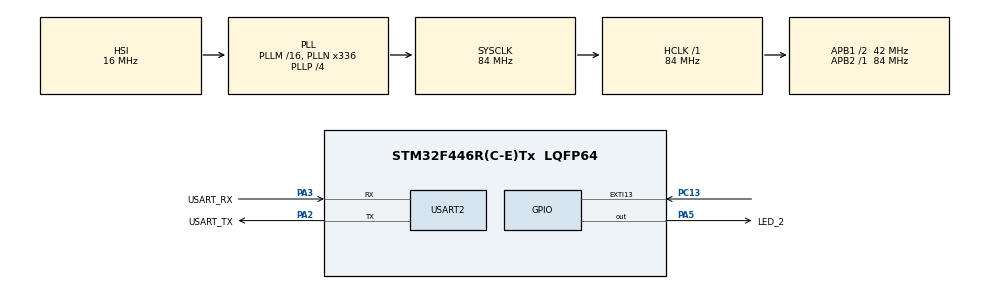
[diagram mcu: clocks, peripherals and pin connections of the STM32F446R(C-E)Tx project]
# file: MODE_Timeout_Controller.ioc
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Mcu.Family=STM32F4
Mcu.Name=STM32F446R(C-E)Tx
Mcu.Package=LQFP64
NVIC.EXTI15_10_IRQn=true\:0\:0\:false\:false\:true\:true\:true\:true
NVIC.PriorityGroup=NVIC_PRIORITYGROUP_0
NVIC.TIM2_IRQn=true\:0\:0\:false\:false\:true\:true\:true\:true
PA13.GPIO_Label=TMS
PA13.Mode=Serial_Wire
PA13.Signal=SYS_JTMS-SWDIO
PA14.GPIO_Label=TCK
PA14.Mode=Serial_Wire
PA14.Signal=SYS_JTCK-SWCLK
PA2.GPIO_Label=USART_TX
PA2.Mode=Asynchronous
PA2.Signal=USART2_TX
PA3.GPIO_Label=USART_RX
PA3.Mode=Asynchronous
PA3.Signal=USART2_RX
PA5.GPIO_Label=LED_2
PA5.PinState=GPIO_PIN_RESET
PA5.Signal=GPIO_Output
PB3.GPIO_Label=SWO
PB3.Signal=SYS_JTDO-SWO
PC13.GPIO_ModeDefaultEXTI=GPIO_MODE_IT_FALLING
PC13.Signal=GPXTI13
PC14-OSC32_IN.Mode=LSE-External-Oscillator
PC14-OSC32_IN.Signal=RCC_OSC32_IN
PC15-OSC32_OUT.Mode=LSE-External-Oscillator
PC15-OSC32_OUT.Signal=RCC_OSC32_OUT
PH0-OSC_IN.Mode=HSE-External-Oscillator
PH0-OSC_IN.Signal=RCC_OSC_IN
PH1-OSC_OUT.Mode=HSE-External-Oscillator
PH1-OSC_OUT.Signal=RCC_OSC_OUT
ProjectManager.HeapSize=0x200
ProjectManager.StackSize=0x400
ProjectManager.TargetToolchain=STM32CubeIDE
RCC.48MHZClocksFreq_Value=84000000
RCC.AHBFreq_Value=84000000
RCC.APB1CLKDivider=RCC_HCLK_DIV2
RCC.APB1Freq_Value=42000000
RCC.APB1TimFreq_Value=84000000
RCC.APB2Freq_Value=84000000
RCC.APB2TimFreq_Value=84000000
RCC.CortexFreq_Value=84000000
RCC.FLatency-AdvancedSettings=FLASH_LATENCY_2
RCC.HCLKFreq_Value=84000000
RCC.HSE_VALUE=8000000
RCC.HSI_VALUE=16000000
RCC.PLLN=336
RCC.PLLP=RCC_PLLP_DIV4
RCC.SYSCLKFreq_VALUE=84000000
RCC.SYSCLKSource=RCC_SYSCLKSOURCE_PLLCLK
RCC.USBFreq_Value=168000000
RCC.VCOOutputFreq_Value=336000000
TIM2.Period=999
TIM2.Prescaler=8399
USART2.VirtualMode=VM_ASYNC
VP_TIM2_VS_ClockSourceINT.Mode=Internal
board=NUCLEO-F446RE

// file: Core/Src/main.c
/* USER CODE BEGIN Header */
/**
  ******************************************************************************
  * @file           : main.c
  * @brief          : Main program body
  ******************************************************************************
  * @attention
  *
  * Copyright (c) 2026 STMicroelectronics.
  * All rights reserved.
  *
  * This software is licensed under terms that can be found in the LICENSE file
  * in the root directory of this software component.
  * If no LICENSE file comes with this software, it is provided AS-IS.
  *
  ******************************************************************************
  */
/* USER CODE END Header */
#include "main.h"

TIM_HandleTypeDef htim2;

UART_HandleTypeDef huart2;

/* USER CODE BEGIN PV */
typedef enum{
	MODE_OFF=0,
	MODE_ON,
	MODE_BLINK
}ledMode_t;

volatile ledMode_t currentMode = MODE_OFF;
static uint8_t ledState=0;
static uint32_t tickCounter=0;
static uint32_t blinkCounter=0;

/* USER CODE END PV */

void SystemClock_Config(void);
static void MX_GPIO_Init(void);
static void MX_TIM2_Init(void);
static void MX_USART2_UART_Init(void);

int main(void)
{

  /* MCU Configuration--------------------------------------------------------*/

  /* Reset of all peripherals, Initializes the Flash interface and the Systick. */
  HAL_Init();

  /* Configure the system clock */
  SystemClock_Config();

  /* Initialize all configured peripherals */
  MX_GPIO_Init();
  MX_TIM2_Init();
  MX_USART2_UART_Init();
  /* USER CODE BEGIN 2 */
  HAL_TIM_Base_Start_IT(&htim2);

  /* USER CODE END 2 */

  /* Infinite loop */
  while (1)
  {

  }
}

void SystemClock_Config(void)
{
  RCC_OscInitTypeDef RCC_OscInitStruct = {0};
  RCC_ClkInitTypeDef RCC_ClkInitStruct = {0};

  /** Configure the main internal regulator output voltage
  */
  __HAL_RCC_PWR_CLK_ENABLE();
  __HAL_PWR_VOLTAGESCALING_CONFIG(PWR_REGULATOR_VOLTAGE_SCALE3);

  /** Initializes the RCC Oscillators according to the specified parameters
  * in the RCC_OscInitTypeDef structure.
  */
  RCC_OscInitStruct.OscillatorType = RCC_OSCILLATORTYPE_HSI;
  RCC_OscInitStruct.HSIState = RCC_HSI_ON;
  RCC_OscInitStruct.HSICalibrationValue = RCC_HSICALIBRATION_DEFAULT;
  RCC_OscInitStruct.PLL.PLLState = RCC_PLL_ON;
  RCC_OscInitStruct.PLL.PLLSource = RCC_PLLSOURCE_HSI;
  RCC_OscInitStruct.PLL.PLLM = 16;
  RCC_OscInitStruct.PLL.PLLN = 336;
  RCC_OscInitStruct.PLL.PLLP = RCC_PLLP_DIV4;
  RCC_OscInitStruct.PLL.PLLQ = 2;
  RCC_OscInitStruct.PLL.PLLR = 2;
  if (HAL_RCC_OscConfig(&RCC_OscInitStruct) != HAL_OK)
  {
    Error_Handler();
  }

  /** Initializes the CPU, AHB and APB buses clocks
  */
  RCC_ClkInitStruct.ClockType = RCC_CLOCKTYPE_HCLK|RCC_CLOCKTYPE_SYSCLK
                              |RCC_CLOCKTYPE_PCLK1|RCC_CLOCKTYPE_PCLK2;
  RCC_ClkInitStruct.SYSCLKSource = RCC_SYSCLKSOURCE_PLLCLK;
  RCC_ClkInitStruct.AHBCLKDivider = RCC_SYSCLK_DIV1;
  RCC_ClkInitStruct.APB1CLKDivider = RCC_HCLK_DIV2;
  RCC_ClkInitStruct.APB2CLKDivider = RCC_HCLK_DIV1;

  if (HAL_RCC_ClockConfig(&RCC_ClkInitStruct, FLASH_LATENCY_2) != HAL_OK)
  {
    Error_Handler();
  }
}

static void MX_TIM2_Init(void)
{

  TIM_ClockConfigTypeDef sClockSourceConfig = {0};
  TIM_MasterConfigTypeDef sMasterConfig = {0};

  htim2.Instance = TIM2;
  htim2.Init.Prescaler = 8399;
  htim2.Init.CounterMode = TIM_COUNTERMODE_UP;
  htim2.Init.Period = 999;
  htim2.Init.ClockDivision = TIM_CLOCKDIVISION_DIV1;
  htim2.Init.AutoReloadPreload = TIM_AUTORELOAD_PRELOAD_DISABLE;
  if (HAL_TIM_Base_Init(&htim2) != HAL_OK)
  {
    Error_Handler();
  }
  sClockSourceConfig.ClockSource = TIM_CLOCKSOURCE_INTERNAL;
  if (HAL_TIM_ConfigClockSource(&htim2, &sClockSourceConfig) != HAL_OK)
  {
    Error_Handler();
  }
  sMasterConfig.MasterOutputTrigger = TIM_TRGO_RESET;
  sMasterConfig.MasterSlaveMode = TIM_MASTERSLAVEMODE_DISABLE;
  if (HAL_TIMEx_MasterConfigSynchronization(&htim2, &sMasterConfig) != HAL_OK)
  {
    Error_Handler();
  }

}

static void MX_USART2_UART_Init(void)
{

  huart2.Instance = USART2;
  huart2.Init.BaudRate = 115200;
  huart2.Init.WordLength = UART_WORDLENGTH_8B;
  huart2.Init.StopBits = UART_STOPBITS_1;
  huart2.Init.Parity = UART_PARITY_NONE;
  huart2.Init.Mode = UART_MODE_TX_RX;
  huart2.Init.HwFlowCtl = UART_HWCONTROL_NONE;
  huart2.Init.OverSampling = UART_OVERSAMPLING_16;
  if (HAL_UART_Init(&huart2) != HAL_OK)
  {
    Error_Handler();
  }

}

static void MX_GPIO_Init(void)
{
  GPIO_InitTypeDef GPIO_InitStruct = {0};

  /* GPIO Ports Clock Enable */
  __HAL_RCC_GPIOC_CLK_ENABLE();
  __HAL_RCC_GPIOH_CLK_ENABLE();
  __HAL_RCC_GPIOA_CLK_ENABLE();
  __HAL_RCC_GPIOB_CLK_ENABLE();

  /*Configure GPIO pin Output Level */
  HAL_GPIO_WritePin(LED_2_GPIO_Port, LED_2_Pin, GPIO_PIN_RESET);

  /*Configure GPIO pin : PC13 */
  GPIO_InitStruct.Pin = GPIO_PIN_13;
  GPIO_InitStruct.Mode = GPIO_MODE_IT_FALLING;
  GPIO_InitStruct.Pull = GPIO_NOPULL;
  HAL_GPIO_Init(GPIOC, &GPIO_InitStruct);

  /*Configure GPIO pin : LED_2_Pin */
  GPIO_InitStruct.Pin = LED_2_Pin;
  GPIO_InitStruct.Mode = GPIO_MODE_OUTPUT_PP;
  GPIO_InitStruct.Pull = GPIO_NOPULL;
  GPIO_InitStruct.Speed = GPIO_SPEED_FREQ_LOW;
  HAL_GPIO_Init(LED_2_GPIO_Port, &GPIO_InitStruct);

  /* EXTI interrupt init*/
  HAL_NVIC_SetPriority(EXTI15_10_IRQn, 0, 0);
  HAL_NVIC_EnableIRQ(EXTI15_10_IRQn);

}

/* USER CODE BEGIN 4 */
static void LED_State(uint8_t LED)
{
	if(LED)
	{
		HAL_GPIO_WritePin(GPIOA,GPIO_PIN_5,GPIO_PIN_SET);
	}
	else
	{
		HAL_GPIO_WritePin(GPIOA,GPIO_PIN_5,GPIO_PIN_RESET);
	}
}

void HAL_GPIO_EXTI_Callback(uint16_t GPIO_Pin)
{
	if(GPIO_Pin==GPIO_PIN_13)
	{
		switch(currentMode)
		{
		case MODE_OFF:
			currentMode=MODE_ON;
			tickCounter=0;
			blinkCounter=0;
			break;

		case MODE_ON:
			tickCounter=0;
			break;

		case MODE_BLINK:
			currentMode=MODE_ON;
			tickCounter=0;
			blinkCounter=0;
			break;

		default:
			currentMode=MODE_OFF;
			tickCounter=0;
			blinkCounter=0;
			break;
		}
	}
}

void HAL_TIM_PeriodElapsedCallback(TIM_HandleTypeDef *htim)
{
	if(htim->Instance==TIM2)
	{
		switch(currentMode)
		{
		case MODE_OFF:
			ledState=0;
			blinkCounter=0;
			tickCounter=0;
			LED_State(ledState);
			break;

		case MODE_ON:
			ledState=1;
			LED_State(ledState);
			tickCounter++;
			if(tickCounter>=50)
			{
				currentMode=MODE_BLINK;
				tickCounter=0;
			}
			break;

		case MODE_BLINK:
			tickCounter++;
			if(tickCounter>=5)
			{
				ledState^=1;
				tickCounter=0;
				blinkCounter++;
				LED_State(ledState);
				if(blinkCounter>=10)
				{
					currentMode=MODE_OFF;
					tickCounter=0;
				}
			}
			break;
		}
	}
}

/* USER CODE END 4 */

void Error_Handler(void)
{
  __disable_irq();
  while (1)
  {
  }
}
